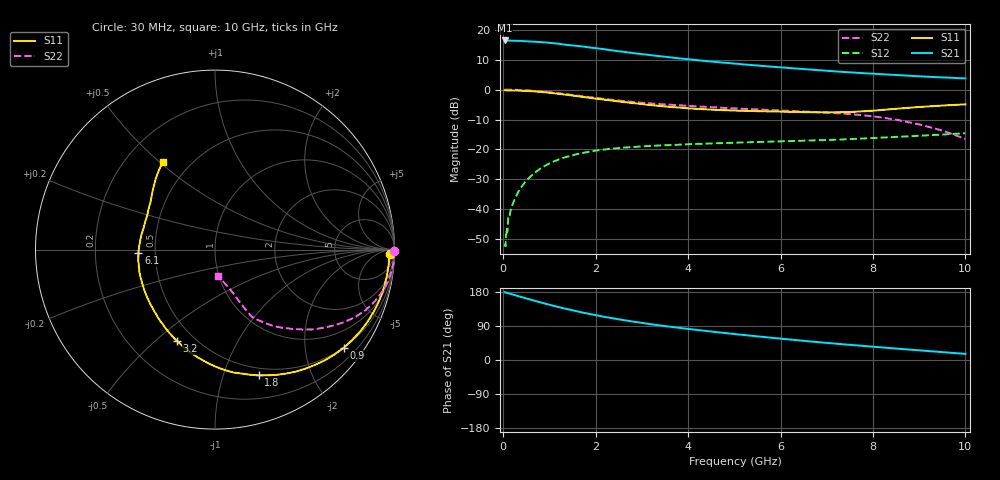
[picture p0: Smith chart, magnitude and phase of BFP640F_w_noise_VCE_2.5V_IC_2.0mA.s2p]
! Infineon Technologies  Discrete & RF Semiconductors
! BFP640F
! VCE =  2.5 V,  IC =  2.0 mA
! Common Emitter S-Parameters:  Apr 2013
# GHz  S  MA  R  50
!  f  S11  S21  S12  S22
! GHz  MAG  ANG  MAG  ANG  MAG  ANG  MAG  ANG
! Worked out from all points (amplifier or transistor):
!   99 points, 30 MHz to 10 GHz, reference 50 ohm
!   highest |S21| = 16.5 dB at 30 MHz (marker M1)
!   |S21| within 3 dB of that: start of sweep to 2.218 GHz
!   unconditionally stable (mu >= 1): 5.696 GHz to end of sweep
!   at 350 MHz: K = 0.01, MSG = 24.9 dB, |S12| = -33.5 dB
!   at 3.5 GHz: K = 0.68, MSG = 14.8 dB, |S12| = -18.6 dB
!   at 10 GHz: K = 1.21, MAG = 6.4 dB, |S12| = -14.6 dB
!   lowest NFmin = 0.46 dB at 450 MHz
!   S11 on the Smith chart (normalised r, x): 30 MHz: 43, -36; 900 MHz: 0.49, -2.89; 1.8 GHz: 0.42, -1.32; 3.2 GHz: 0.40, -0.59; 6.1 GHz: 0.40, -0.02; 10 GHz: 0.36, +0.51
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0.03  0.9733 -1.3  6.652 178.9  0.0024 89.5  0.9991 -0.6
0.04  0.9734 -1.7  6.447 178.6  0.0025 95.0  0.9992 -0.9
0.05  0.9729 -2.1  6.565 178.4  0.0024 118.1  0.9981 -1.1
0.08  0.9718 -3.4  6.578 177.1  0.0048 85.3  0.9994 -1.8
0.09  0.9724 -3.7  6.585 176.8  0.0042 85.5  0.9988 -2.0
0.11  0.9708 -4.6  6.612 176.1  0.0072 90.1  0.9989 -2.5
0.3  0.965 -12.5  6.556 169.4  0.0177 85.1  0.9906 -6.9
0.7  0.93 -29.1  6.329 155.6  0.0417 75.2  0.9516 -15.6
0.9  0.9022 -37.3  6.173 149.0  0.0528 70.5  0.9215 -19.8
1.2  0.8502 -49.1  5.854 139.5  0.0679 63.3  0.8703 -25.3
1.7  0.7578 -67.5  5.288 125.6  0.0864 53.2  0.7786 -33.0
1.8  0.7408 -70.9  5.161 123.2  0.0896 51.4  0.7612 -34.5
2.2  0.6774 -84.5  4.734 113.6  0.0997 45.1  0.6984 -39.6
2.5  0.6351 -93.3  4.385 107.4  0.1053 41.5  0.6573 -42.6
3.2  0.5509 -112.7  3.77 94.4  0.1142 35.2  0.5868 -48.2
3.4  0.5325 -117.8  3.616 91.1  0.1165 33.9  0.5716 -49.5
4.2  0.4753 -137.2  3.113 79.2  0.1235 29.7  0.5252 -53.4
5.1  0.4439 -157.6  2.691 67.3  0.1299 26.8  0.4817 -56.8
6.1  0.4269 -177.5  2.333 55.2  0.137 24.7  0.445 -59.9
6.7  0.4181 170.2  2.15 48.3  0.1413 24.0  0.4226 -61.3
8.5  0.4783 136.5  1.757 30.2  0.1616 22.8  0.3145 -65.1
10  0.5675 120.8  1.542 16.1  0.1864 20.4  0.1499 -83.1
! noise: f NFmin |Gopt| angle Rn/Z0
0.45  0.46  0.63  10  0.28
0.9  0.57  0.59  22  0.27
1.5  0.67  0.58  31  0.27
1.9  0.72  0.54  46  0.26
2.4  0.8  0.51  62  0.26
3.5  0.94  0.43  82  0.25
5.5  1.26  0.36  145  0.24
10  2.23  0.53  -110  0.45
